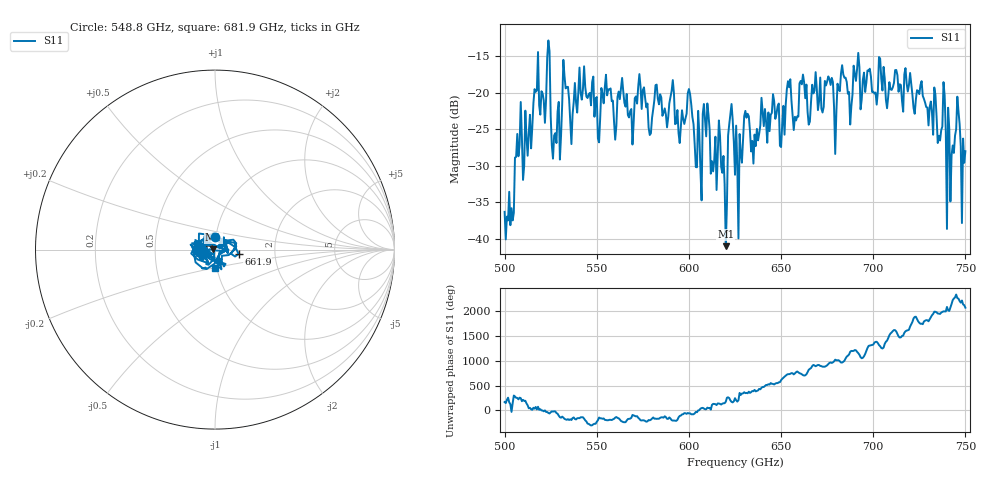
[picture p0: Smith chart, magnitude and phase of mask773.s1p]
!Created with skrf (http://scikit-rf.org).
# GHz S MA R 50.0
!freq magS11 angS11
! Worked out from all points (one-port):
!   401 points, 500 GHz to 750 GHz, reference 50 ohm
!   lowest |S11| = -41.0 dB at 620 GHz (marker M1), VSWR 1.02, Z = 49.1 + j0.0935 ohm
!   |S11| at or under -10 dB: start of sweep to end of sweep
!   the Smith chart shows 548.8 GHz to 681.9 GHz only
!   S11 on the Smith chart (normalised r, x): 548.8 GHz: 0.99, +0.14; 661.9 GHz: 1.30, -0.06; 681.9 GHz: 0.98, -0.20
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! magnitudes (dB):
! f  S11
! 500 GHz  -36.3
! 516.9 GHz  -19.9
! 523.8 GHz  -12.8
! 526.9 GHz  -25.9
! 531.2 GHz  -21.5
! 548.8 GHz  -23.3
! 562.5 GHz  -20.9
! 579.4 GHz  -25.6
! 590.6 GHz  -19.7
! 593.8 GHz  -22.4
! 600.6 GHz  -20.2
! 605.6 GHz  -25.6
! 609.4 GHz  -26.0
! 620 GHz  -41.0
! 622.5 GHz  -22.9
! 625 GHz  -31.2
! 627.5 GHz  -25.7
! 656.2 GHz  -23.1
! 661.9 GHz  -17.5
! 680 GHz  -22.6
! 681.9 GHz  -19.8
! 687.5 GHz  -24.4
! 690.6 GHz  -18.4
! 718.8 GHz  -19.8
! 738.1 GHz  -18.5
! 741.2 GHz  -25.0
! 745.6 GHz  -20.5
! 750 GHz  -28.0
